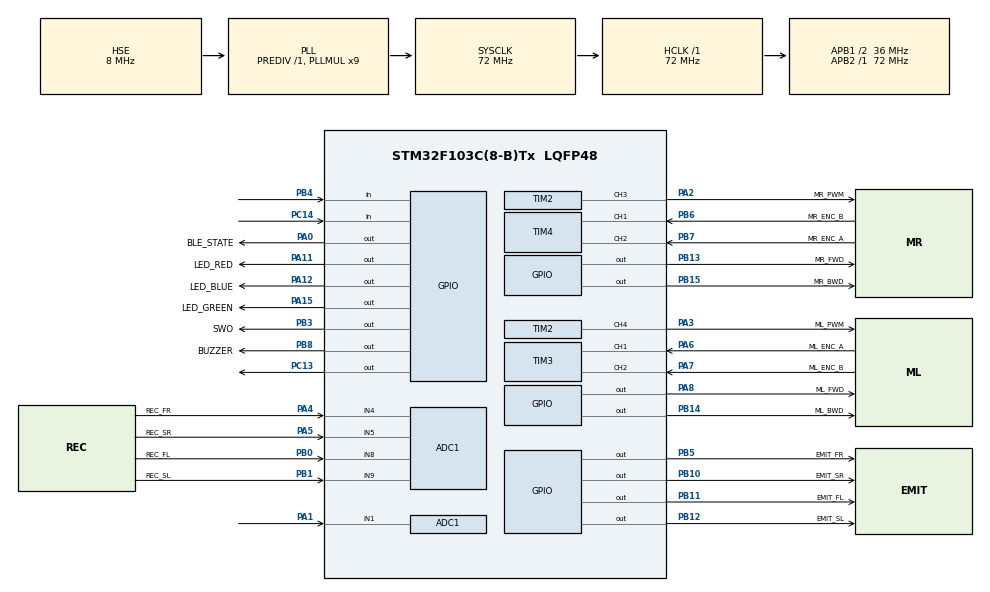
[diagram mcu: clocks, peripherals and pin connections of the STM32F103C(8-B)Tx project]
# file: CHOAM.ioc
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ADC1.Channel-0\#ChannelRegularConversion=ADC_CHANNEL_1
ADC1.NbrOfConversionFlag=1
ADC1.Rank-0\#ChannelRegularConversion=1
ADC1.SamplingTime-0\#ChannelRegularConversion=ADC_SAMPLETIME_1CYCLE_5
ADC1.master=1
Mcu.Family=STM32F1
Mcu.Name=STM32F103C(8-B)Tx
Mcu.Package=LQFP48
NVIC.PriorityGroup=NVIC_PRIORITYGROUP_4
NVIC.TIM2_IRQn=true\:0\:0\:false\:false\:true\:true\:true\:true
NVIC.TIM3_IRQn=true\:0\:0\:false\:false\:true\:true\:true\:true
NVIC.TIM4_IRQn=true\:0\:0\:false\:false\:true\:true\:true\:true
PA0-WKUP.GPIO_Label=BLE_STATE
PA0-WKUP.Signal=GPIO_Output
PA1.Signal=ADCx_IN1
PA10.Signal=USART1_RX
PA11.GPIO_Label=LED_RED
PA11.Signal=GPIO_Output
PA12.GPIO_Label=LED_BLUE
PA12.Signal=GPIO_Output
PA13.Mode=Serial_Wire
PA13.Signal=SYS_JTMS-SWDIO
PA14.Mode=Serial_Wire
PA14.Signal=SYS_JTCK-SWCLK
PA15.GPIO_Label=LED_GREEN
PA15.Signal=GPIO_Output
PA2.GPIO_Label=MR_PWM
PA2.Signal=S_TIM2_CH3
PA3.GPIO_Label=ML_PWM
PA3.Signal=S_TIM2_CH4
PA4.GPIO_Label=REC_FR
PA4.Signal=ADCx_IN4
PA5.GPIO_Label=REC_SR
PA5.Signal=ADCx_IN5
PA6.GPIO_Label=ML_ENC_A
PA6.Signal=S_TIM3_CH1
PA7.GPIO_Label=ML_ENC_B
PA7.Signal=S_TIM3_CH2
PA8.GPIO_Label=ML_FWD
PA8.Signal=GPIO_Output
PA9.Signal=USART1_TX
PB0.GPIO_Label=REC_FL
PB0.Signal=ADCx_IN8
PB1.GPIO_Label=REC_SL
PB1.Signal=ADCx_IN9
PB10.GPIO_Label=EMIT_SR
PB10.Signal=GPIO_Output
PB11.GPIO_Label=EMIT_FL
PB11.Signal=GPIO_Output
PB12.GPIO_Label=EMIT_SL
PB12.Signal=GPIO_Output
PB13.GPIO_Label=MR_FWD
PB13.Signal=GPIO_Output
PB14.GPIO_Label=ML_BWD
PB14.Signal=GPIO_Output
PB15.GPIO_Label=MR_BWD
PB15.Signal=GPIO_Output
PB3.GPIO_Label=SWO
PB3.Signal=GPIO_Output
PB4.Signal=GPIO_Input
PB5.GPIO_Label=EMIT_FR
PB5.Signal=GPIO_Output
PB6.GPIO_Label=MR_ENC_B
PB6.Signal=S_TIM4_CH1
PB7.GPIO_Label=MR_ENC_A
PB7.Signal=S_TIM4_CH2
PB8.GPIO_Label=BUZZER
PB8.Signal=GPIO_Output
PC13-TAMPER-RTC.Signal=GPIO_Output
PC14-OSC32_IN.Signal=GPIO_Input
PD0-OSC_IN.Mode=HSE-External-Oscillator
PD0-OSC_IN.Signal=RCC_OSC_IN
PD1-OSC_OUT.Mode=HSE-External-Oscillator
PD1-OSC_OUT.Signal=RCC_OSC_OUT
ProjectManager.HeapSize=0x200
ProjectManager.StackSize=0x400
ProjectManager.TargetToolchain=STM32CubeIDE
RCC.ADCPresc=RCC_ADCPCLK2_DIV6
RCC.AHBFreq_Value=72000000
RCC.APB1CLKDivider=RCC_HCLK_DIV2
RCC.APB1Freq_Value=36000000
RCC.APB1TimFreq_Value=72000000
RCC.APB2Freq_Value=72000000
RCC.APB2TimFreq_Value=72000000
RCC.HCLKFreq_Value=72000000
RCC.PLLMUL=RCC_PLL_MUL9
RCC.PLLSourceVirtual=RCC_PLLSOURCE_HSE
RCC.SYSCLKFreq_VALUE=72000000
RCC.SYSCLKSource=RCC_SYSCLKSOURCE_PLLCLK
RCC.USBFreq_Value=72000000
SH.ADCx_IN1.0=ADC1_IN1,IN1
SH.ADCx_IN4.0=ADC1_IN4,IN4
SH.ADCx_IN5.0=ADC1_IN5,IN5
SH.ADCx_IN8.0=ADC1_IN8,IN8
SH.ADCx_IN9.0=ADC1_IN9,IN9
SH.S_TIM2_CH3.0=TIM2_CH3,PWM Generation3 CH3
SH.S_TIM2_CH4.0=TIM2_CH4,PWM Generation4 CH4
SH.S_TIM3_CH1.0=TIM3_CH1,Encoder_Interface
SH.S_TIM3_CH2.0=TIM3_CH2,Encoder_Interface
SH.S_TIM4_CH1.0=TIM4_CH1,Encoder_Interface
SH.S_TIM4_CH2.0=TIM4_CH2,Encoder_Interface
TIM2.AutoReloadPreload=TIM_AUTORELOAD_PRELOAD_ENABLE
TIM2.Channel-PWM\ Generation3\ CH3=TIM_CHANNEL_3
TIM2.Channel-PWM\ Generation4\ CH4=TIM_CHANNEL_4
TIM2.Period=1000
TIM2.Prescaler=72
TIM2.Pulse-PWM\ Generation3\ CH3=1000
TIM2.Pulse-PWM\ Generation4\ CH4=1000
TIM3.EncoderMode=TIM_ENCODERMODE_TI12
TIM3.IC1Polarity=TIM_ICPOLARITY_FALLING
TIM3.IC2Polarity=TIM_ICPOLARITY_FALLING
TIM4.IC1Polarity=TIM_ICPOLARITY_FALLING
TIM4.IC2Polarity=TIM_ICPOLARITY_FALLING
VP_TIM2_VS_ClockSourceINT.Mode=Internal
board=custom

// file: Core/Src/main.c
/* USER CODE BEGIN Header */
/**
  ******************************************************************************
  * @file           : main.c
  * @brief          : Main program body
  ******************************************************************************
  * @attention
  *
  * Copyright (c) 2025 STMicroelectronics.
  * All rights reserved.
  *
  * This software is licensed under terms that can be found in the LICENSE file
  * in the root directory of this software component.
  * If no LICENSE file comes with this software, it is provided AS-IS.
  *
  ******************************************************************************
  */
/* USER CODE END Header */
#include "main.h"

/* USER CODE BEGIN Includes */
// hardware includes
#include "adc_manager.h"
#include "distance.h"
#include "motors.h"
#include "values.h"
#include "movement.h"
#include "PID.h"

// software integration includes
#include "floodfill_includes/definitions.h"
#include "floodfill_includes/mouseFunctions.h"
#include "floodfill_includes/mazeFunctions.h"
#include "floodfill_includes/utilityFunctions.h"
#include "floodfill_includes/floodFill.h"

/* USER CODE END Includes */

ADC_HandleTypeDef hadc1;

TIM_HandleTypeDef htim2;
TIM_HandleTypeDef htim3;
TIM_HandleTypeDef htim4;

/* USER CODE BEGIN PV */
int dis_FL;
int dis_FR;
int dis_SL;
int dis_SR;

int debug1 = 0;
int debug2 = 0;
int debug3 = 0;
int debug4;
int debug5;
int debug6;
int debug7;
int debug8;
int debug9;

int rotating;

float prev_error_l, prev_error_r, prev_encoder_error;
float currentEncDist;
float error_integral = 0;
Mouse mouse;

/* USER CODE END PV */

void SystemClock_Config(void);
static void MX_GPIO_Init(void);
static void MX_TIM2_Init(void);
static void MX_ADC1_Init(void);
static void MX_TIM3_Init(void);
static void MX_TIM4_Init(void);

/* USER CODE BEGIN 0 */

/*ir var inits*/

//int mouseSpeedL = addVoltage + biasVoltageL;
//int mouseSpeedR = addVoltage + biasVoltageR;

int mouseSpeedL = CRUISE_SPEED;
int mouseSpeedR = CRUISE_SPEED;

uint16_t encL = 0, encR = 0; //counter for left and right encoder value
uint16_t prevEncL = 0, prevEncR = 0; // counter for previous left and right encoder values
float encLmm, encRmm;	// distance traveled in mm
int16_t dL, dR;		// change in ticks traveled since last update
float encrIdeal = 0, enclIdeal = 0;

void HAL_TIM_IC_CaptureCallback(TIM_HandleTypeDef *htim) {
 //left encoder timer
	if (htim->Instance == TIM3){
		encL = __HAL_TIM_GET_COUNTER(htim);
		dL = (int16_t)(prevEncL - encL);
		encLmm += dL / tickConvertL;		// every 5.74125 ticks is 1 mm
		prevEncL = encL;
	}

	if (htim->Instance == TIM4) {
		encR = __HAL_TIM_GET_COUNTER(htim);
		dR = (int16_t)(prevEncR - encR);
		encRmm += dR / tickConvertR;	//every 2.90833 ticks is 1mm
		prevEncR = encR;
	}
}
void measure_ir(){
	float raw_FL = measure_dist(DIST_FL);
	float raw_FR = measure_dist(DIST_FR);
	float raw_SL = measure_dist(DIST_SL);
	float raw_SR = measure_dist(DIST_SR);

	dis_FL = (((raw_FL - z_FL)/(loc_FL - z_FL)) * NOM_F) + 200; //raw
	dis_FR = (((raw_FR - z_FR)/(loc_FR - z_FR)) * NOM_F) + 200; //raw
	dis_SL = (((raw_SL - z_SL)/(loc_SL - z_SL)) * NOM_S) + 130; //raw
	dis_SR = (((raw_SR - z_SR)/(loc_SR - z_SR)) * .5 * NOM_S) + 105; //raw
}
/* USER CODE END 0 */

int main(void)
{

  /* MCU Configuration--------------------------------------------------------*/

  /* Reset of all peripherals, Initializes the Flash interface and the Systick. */
	HAL_Init();

  /* Configure the system clock */
  SystemClock_Config();

  /* USER CODE BEGIN SysInit */
  MX_GPIO_Init();
  MX_TIM2_Init();

  /* USER CODE END SysInit */

  /* Initialize all configured peripherals */
  MX_GPIO_Init();
  MX_TIM2_Init();
  MX_ADC1_Init();
  MX_TIM3_Init();
  MX_TIM4_Init();
  /* USER CODE BEGIN 2 */

  //start motors
  HAL_TIM_PWM_Start(&htim2, TIM_CHANNEL_3);
  HAL_TIM_PWM_Start(&htim2, TIM_CHANNEL_4);

  //start left encoder
  HAL_TIM_Encoder_Start_IT(&htim3, TIM_CHANNEL_ALL);
  HAL_TIM_Encoder_Start_IT(&htim4, TIM_CHANNEL_ALL);

  HAL_TIM_Base_Start_IT(&htim2);

  Mouse myMouse;
  Maze myMaze;

  /* USER CODE END 2 */

  /* Infinite loop */
  /* USER CODE BEGIN WHILE */

  HAL_Delay(500);
  HAL_GPIO_TogglePin(GPIOC, GPIO_PIN_13);

  while (dis_FL > 180){
  }
  while (1){

  }

  HAL_GPIO_TogglePin(GPIOC, GPIO_PIN_13);
  HAL_Delay(1500);

  init_maze(&myMaze, &myMouse); //hard-code the boundary walls
  setGoalPos(goal1, &myMaze);
  scan_walls(&myMaze, &myMouse);

  while (goToPos(1, &myMaze, &myMouse)) {
	  move_dist(185);
	  updateMousePos(&myMouse);
  }

    /* USER CODE END WHILE */

}

void SystemClock_Config(void)
{
  RCC_OscInitTypeDef RCC_OscInitStruct = {0};
  RCC_ClkInitTypeDef RCC_ClkInitStruct = {0};
  RCC_PeriphCLKInitTypeDef PeriphClkInit = {0};

  /** Initializes the RCC Oscillators according to the specified parameters
  * in the RCC_OscInitTypeDef structure.
  */
  RCC_OscInitStruct.OscillatorType = RCC_OSCILLATORTYPE_HSE;
  RCC_OscInitStruct.HSEState = RCC_HSE_ON;
  RCC_OscInitStruct.HSEPredivValue = RCC_HSE_PREDIV_DIV1;
  RCC_OscInitStruct.HSIState = RCC_HSI_ON;
  RCC_OscInitStruct.PLL.PLLState = RCC_PLL_ON;
  RCC_OscInitStruct.PLL.PLLSource = RCC_PLLSOURCE_HSE;
  RCC_OscInitStruct.PLL.PLLMUL = RCC_PLL_MUL9;
  if (HAL_RCC_OscConfig(&RCC_OscInitStruct) != HAL_OK)
  {
    Error_Handler();
  }

  /** Initializes the CPU, AHB and APB buses clocks
  */
  RCC_ClkInitStruct.ClockType = RCC_CLOCKTYPE_HCLK|RCC_CLOCKTYPE_SYSCLK
                              |RCC_CLOCKTYPE_PCLK1|RCC_CLOCKTYPE_PCLK2;
  RCC_ClkInitStruct.SYSCLKSource = RCC_SYSCLKSOURCE_PLLCLK;
  RCC_ClkInitStruct.AHBCLKDivider = RCC_SYSCLK_DIV1;
  RCC_ClkInitStruct.APB1CLKDivider = RCC_HCLK_DIV2;
  RCC_ClkInitStruct.APB2CLKDivider = RCC_HCLK_DIV1;

  if (HAL_RCC_ClockConfig(&RCC_ClkInitStruct, FLASH_LATENCY_2) != HAL_OK)
  {
    Error_Handler();
  }
  PeriphClkInit.PeriphClockSelection = RCC_PERIPHCLK_ADC;
  PeriphClkInit.AdcClockSelection = RCC_ADCPCLK2_DIV6;
  if (HAL_RCCEx_PeriphCLKConfig(&PeriphClkInit) != HAL_OK)
  {
    Error_Handler();
  }
}

static void MX_ADC1_Init(void)
{

  ADC_ChannelConfTypeDef sConfig = {0};

  /** Common config
  */
  hadc1.Instance = ADC1;
  hadc1.Init.ScanConvMode = ADC_SCAN_DISABLE;
  hadc1.Init.ContinuousConvMode = DISABLE;
  hadc1.Init.DiscontinuousConvMode = DISABLE;
  hadc1.Init.ExternalTrigConv = ADC_SOFTWARE_START;
  hadc1.Init.DataAlign = ADC_DATAALIGN_RIGHT;
  hadc1.Init.NbrOfConversion = 1;
  if (HAL_ADC_Init(&hadc1) != HAL_OK)
  {
    Error_Handler();
  }

  /** Configure Regular Channel
  */
  sConfig.Channel = ADC_CHANNEL_1;
  sConfig.Rank = ADC_REGULAR_RANK_1;
  sConfig.SamplingTime = ADC_SAMPLETIME_1CYCLE_5;
  if (HAL_ADC_ConfigChannel(&hadc1, &sConfig) != HAL_OK)
  {
    Error_Handler();
  }

}

static void MX_TIM2_Init(void)
{

  TIM_ClockConfigTypeDef sClockSourceConfig = {0};
  TIM_MasterConfigTypeDef sMasterConfig = {0};
  TIM_OC_InitTypeDef sConfigOC = {0};

  htim2.Instance = TIM2;
  htim2.Init.Prescaler = 72;
  htim2.Init.CounterMode = TIM_COUNTERMODE_UP;
  htim2.Init.Period = 1000;
  htim2.Init.ClockDivision = TIM_CLOCKDIVISION_DIV1;
  htim2.Init.AutoReloadPreload = TIM_AUTORELOAD_PRELOAD_ENABLE;
  if (HAL_TIM_Base_Init(&htim2) != HAL_OK)
  {
    Error_Handler();
  }
  sClockSourceConfig.ClockSource = TIM_CLOCKSOURCE_INTERNAL;
  if (HAL_TIM_ConfigClockSource(&htim2, &sClockSourceConfig) != HAL_OK)
  {
    Error_Handler();
  }
  if (HAL_TIM_PWM_Init(&htim2) != HAL_OK)
  {
    Error_Handler();
  }
  sMasterConfig.MasterOutputTrigger = TIM_TRGO_RESET;
  sMasterConfig.MasterSlaveMode = TIM_MASTERSLAVEMODE_DISABLE;
  if (HAL_TIMEx_MasterConfigSynchronization(&htim2, &sMasterConfig) != HAL_OK)
  {
    Error_Handler();
  }
  sConfigOC.OCMode = TIM_OCMODE_PWM1;
  sConfigOC.Pulse = 1000;
  sConfigOC.OCPolarity = TIM_OCPOLARITY_HIGH;
  sConfigOC.OCFastMode = TIM_OCFAST_DISABLE;
  if (HAL_TIM_PWM_ConfigChannel(&htim2, &sConfigOC, TIM_CHANNEL_3) != HAL_OK)
  {
    Error_Handler();
  }
  if (HAL_TIM_PWM_ConfigChannel(&htim2, &sConfigOC, TIM_CHANNEL_4) != HAL_OK)
  {
    Error_Handler();
  }
  HAL_TIM_MspPostInit(&htim2);

}

static void MX_TIM3_Init(void)
{

  TIM_Encoder_InitTypeDef sConfig = {0};
  TIM_MasterConfigTypeDef sMasterConfig = {0};

  htim3.Instance = TIM3;
  htim3.Init.Prescaler = 0;
  htim3.Init.CounterMode = TIM_COUNTERMODE_UP;
  htim3.Init.Period = 65535;
  htim3.Init.ClockDivision = TIM_CLOCKDIVISION_DIV1;
  htim3.Init.AutoReloadPreload = TIM_AUTORELOAD_PRELOAD_DISABLE;
  sConfig.EncoderMode = TIM_ENCODERMODE_TI12;
  sConfig.IC1Polarity = TIM_ICPOLARITY_FALLING;
  sConfig.IC1Selection = TIM_ICSELECTION_DIRECTTI;
  sConfig.IC1Prescaler = TIM_ICPSC_DIV1;
  sConfig.IC1Filter = 0;
  sConfig.IC2Polarity = TIM_ICPOLARITY_FALLING;
  sConfig.IC2Selection = TIM_ICSELECTION_DIRECTTI;
  sConfig.IC2Prescaler = TIM_ICPSC_DIV1;
  sConfig.IC2Filter = 0;
  if (HAL_TIM_Encoder_Init(&htim3, &sConfig) != HAL_OK)
  {
    Error_Handler();
  }
  sMasterConfig.MasterOutputTrigger = TIM_TRGO_RESET;
  sMasterConfig.MasterSlaveMode = TIM_MASTERSLAVEMODE_DISABLE;
  if (HAL_TIMEx_MasterConfigSynchronization(&htim3, &sMasterConfig) != HAL_OK)
  {
    Error_Handler();
  }

}

static void MX_TIM4_Init(void)
{

  TIM_Encoder_InitTypeDef sConfig = {0};
  TIM_MasterConfigTypeDef sMasterConfig = {0};

  htim4.Instance = TIM4;
  htim4.Init.Prescaler = 0;
  htim4.Init.CounterMode = TIM_COUNTERMODE_UP;
  htim4.Init.Period = 65535;
  htim4.Init.ClockDivision = TIM_CLOCKDIVISION_DIV1;
  htim4.Init.AutoReloadPreload = TIM_AUTORELOAD_PRELOAD_DISABLE;
  sConfig.EncoderMode = TIM_ENCODERMODE_TI1;
  sConfig.IC1Polarity = TIM_ICPOLARITY_FALLING;
  sConfig.IC1Selection = TIM_ICSELECTION_DIRECTTI;
  sConfig.IC1Prescaler = TIM_ICPSC_DIV1;
  sConfig.IC1Filter = 0;
  sConfig.IC2Polarity = TIM_ICPOLARITY_FALLING;
  sConfig.IC2Selection = TIM_ICSELECTION_DIRECTTI;
  sConfig.IC2Prescaler = TIM_ICPSC_DIV1;
  sConfig.IC2Filter = 0;
  if (HAL_TIM_Encoder_Init(&htim4, &sConfig) != HAL_OK)
  {
    Error_Handler();
  }
  sMasterConfig.MasterOutputTrigger = TIM_TRGO_RESET;
  sMasterConfig.MasterSlaveMode = TIM_MASTERSLAVEMODE_DISABLE;
  if (HAL_TIMEx_MasterConfigSynchronization(&htim4, &sMasterConfig) != HAL_OK)
  {
    Error_Handler();
  }

}

static void MX_GPIO_Init(void)
{
  GPIO_InitTypeDef GPIO_InitStruct = {0};

  /* GPIO Ports Clock Enable */
  __HAL_RCC_GPIOC_CLK_ENABLE();
  __HAL_RCC_GPIOD_CLK_ENABLE();
  __HAL_RCC_GPIOA_CLK_ENABLE();
  __HAL_RCC_GPIOB_CLK_ENABLE();

  /*Configure GPIO pin Output Level */
  HAL_GPIO_WritePin(GPIOC, GPIO_PIN_13, GPIO_PIN_RESET);

  /*Configure GPIO pin Output Level */
  HAL_GPIO_WritePin(GPIOA, BLE_STATE_Pin|ML_FWD_Pin|LED_RED_Pin|LED_BLUE_Pin
                          |LED_GREEN_Pin, GPIO_PIN_RESET);

  /*Configure GPIO pin Output Level */
  HAL_GPIO_WritePin(GPIOB, EMIT_SR_Pin|EMIT_FL_Pin|EMIT_SL_Pin|MR_FWD_Pin
                          |ML_BWD_Pin|MR_BWD_Pin|SWO_Pin|EMIT_FR_Pin
                          |BUZZER_Pin, GPIO_PIN_RESET);

  /*Configure GPIO pin : PC13 */
  GPIO_InitStruct.Pin = GPIO_PIN_13;
  GPIO_InitStruct.Mode = GPIO_MODE_OUTPUT_PP;
  GPIO_InitStruct.Pull = GPIO_NOPULL;
  GPIO_InitStruct.Speed = GPIO_SPEED_FREQ_LOW;
  HAL_GPIO_Init(GPIOC, &GPIO_InitStruct);

  /*Configure GPIO pin : PC14 */
  GPIO_InitStruct.Pin = GPIO_PIN_14;
  GPIO_InitStruct.Mode = GPIO_MODE_INPUT;
  GPIO_InitStruct.Pull = GPIO_NOPULL;
  HAL_GPIO_Init(GPIOC, &GPIO_InitStruct);

  /*Configure GPIO pins : BLE_STATE_Pin ML_FWD_Pin LED_RED_Pin LED_BLUE_Pin
                           LED_GREEN_Pin */
  GPIO_InitStruct.Pin = BLE_STATE_Pin|ML_FWD_Pin|LED_RED_Pin|LED_BLUE_Pin
                          |LED_GREEN_Pin;
  GPIO_InitStruct.Mode = GPIO_MODE_OUTPUT_PP;
  GPIO_InitStruct.Pull = GPIO_NOPULL;
  GPIO_InitStruct.Speed = GPIO_SPEED_FREQ_LOW;
  HAL_GPIO_Init(GPIOA, &GPIO_InitStruct);

  /*Configure GPIO pins : EMIT_SR_Pin EMIT_FL_Pin EMIT_SL_Pin MR_FWD_Pin
                           ML_BWD_Pin MR_BWD_Pin SWO_Pin EMIT_FR_Pin
                           BUZZER_Pin */
  GPIO_InitStruct.Pin = EMIT_SR_Pin|EMIT_FL_Pin|EMIT_SL_Pin|MR_FWD_Pin
                          |ML_BWD_Pin|MR_BWD_Pin|SWO_Pin|EMIT_FR_Pin
                          |BUZZER_Pin;
  GPIO_InitStruct.Mode = GPIO_MODE_OUTPUT_PP;
  GPIO_InitStruct.Pull = GPIO_NOPULL;
  GPIO_InitStruct.Speed = GPIO_SPEED_FREQ_LOW;
  HAL_GPIO_Init(GPIOB, &GPIO_InitStruct);

  /*Configure GPIO pin : PA9 */
  GPIO_InitStruct.Pin = GPIO_PIN_9;
  GPIO_InitStruct.Mode = GPIO_MODE_AF_PP;
  GPIO_InitStruct.Speed = GPIO_SPEED_FREQ_HIGH;
  HAL_GPIO_Init(GPIOA, &GPIO_InitStruct);

  /*Configure GPIO pin : PA10 */
  GPIO_InitStruct.Pin = GPIO_PIN_10;
  GPIO_InitStruct.Mode = GPIO_MODE_INPUT;
  GPIO_InitStruct.Pull = GPIO_NOPULL;
  HAL_GPIO_Init(GPIOA, &GPIO_InitStruct);

  /*Configure GPIO pin : PB4 */
  GPIO_InitStruct.Pin = GPIO_PIN_4;
  GPIO_InitStruct.Mode = GPIO_MODE_INPUT;
  GPIO_InitStruct.Pull = GPIO_NOPULL;
  HAL_GPIO_Init(GPIOB, &GPIO_InitStruct);

}

/* USER CODE BEGIN 4 */
void HAL_TIM_PeriodElapsedCallback(TIM_HandleTypeDef* htim) {
	debug1 = wallDetectFront();
	debug2 = wallDetectRight();
	debug3 = wallDetectLeft();

	//turn off IR while turning
	debug4 = measure_dist(DIST_FL);
	debug5 = measure_dist(DIST_FR);
	debug6 = measure_dist(DIST_SL);
	debug7 = measure_dist(DIST_SR);
//
	measure_ir();
	PID();

}
/* USER CODE END 4 */

void Error_Handler(void)
{
  __disable_irq();
  while (1)
  {
  }
}
